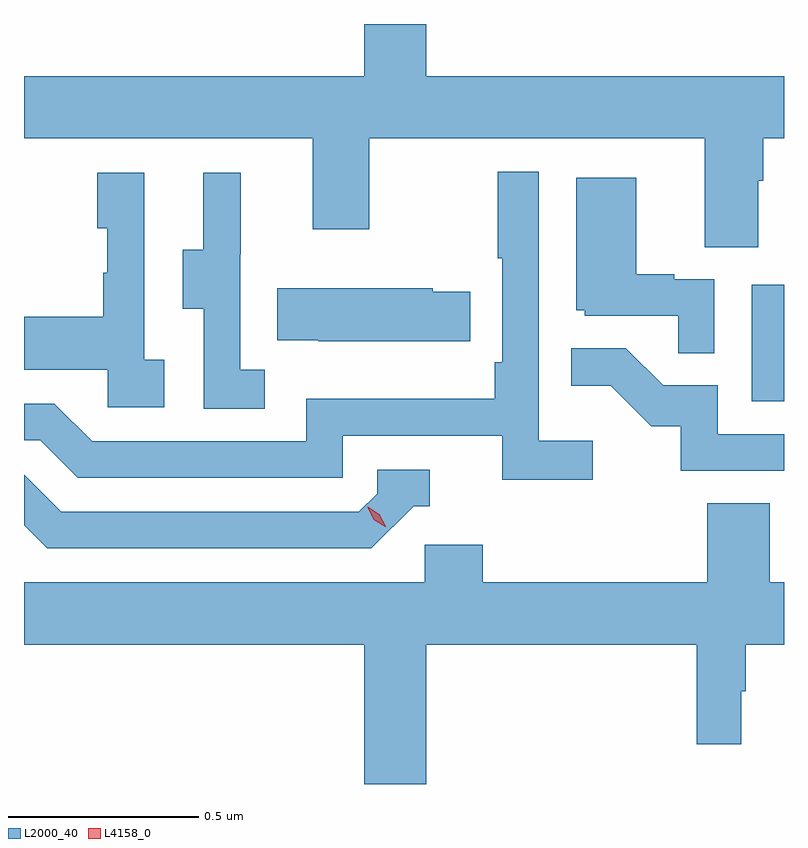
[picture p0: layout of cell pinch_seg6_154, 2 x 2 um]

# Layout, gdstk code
import gdstk
lib = gdstk.Library(unit=1e-6, precision=1e-09)
def R(c, l, rs):  # rectangles x0, y0, x1, y1
    for r in rs: c.add(gdstk.rectangle(r[:2], r[2:], *l))
def P(c, l, *ps):  # polygons
    for p in ps: c.add(gdstk.Polygon(p, *l))
L2000_40 = (2000, 40)
L4158_0 = (4158, 0)

pinch_seg6_154 = lib.new_cell('pinch_seg6_154')
R(pinch_seg6_154, L2000_40, [(969.224,917.34,969.309,917.647)])
P(pinch_seg6_154, L2000_40, [(969.241,917.92),(969.254,917.92),(969.254,918.032),(969.309,918.032),(969.309,918.196),(968.368,918.196),(968.368,918.333),(968.204,918.333),(968.204,918.196),(967.309,918.196),(967.309,918.032),(968.069,918.032),(968.069,917.793),(968.217,917.793),(968.217,918.032),(969.101,918.032),(969.101,917.746),(969.241,917.746)],
  [(968.806,917.236),(968.664,917.236),(968.664,917.944),(968.556,917.944),(968.556,917.716),(968.568,917.716),(968.568,917.443),(968.548,917.443),(968.548,917.347),(968.052,917.347),(968.052,917.235),(967.488,917.235),(967.389,917.334),(967.309,917.334),(967.309,917.238),(967.352,917.238),(967.451,917.139),(968.148,917.139),(968.148,917.25),(968.567,917.25),(968.567,917.134),(968.806,917.134)],
  [(967.678,917.45),(967.626,917.45),(967.626,917.941),(967.502,917.941),(967.502,917.796),(967.528,917.796),(967.528,917.678),(967.518,917.678),(967.518,917.563),(967.309,917.563),(967.309,917.423),(967.53,917.423),(967.53,917.325),(967.678,917.325)],
  [(967.942,917.423),(967.878,917.423),(967.878,917.727),(967.88,917.727),(967.88,917.941),(967.781,917.941),(967.781,917.739),(967.727,917.739),(967.727,917.584),(967.782,917.584),(967.782,917.32),(967.942,917.32)],
  [(969.126,917.661),(969.02,917.661),(969.02,917.674),(968.92,917.674),(968.92,917.929),(968.762,917.929),(968.762,917.58),(968.784,917.58),(968.784,917.565),(969.031,917.565),(969.031,917.467),(969.126,917.467)],
  [(968.483,917.628),(968.385,917.628),(968.385,917.638),(967.975,917.638),(967.975,917.501),(968.083,917.501),(968.083,917.498),(968.483,917.498)],
  [(969.309,917.253),(969.135,917.253),(969.135,917.382),(968.991,917.382),(968.893,917.48),(968.749,917.48),(968.749,917.381),(968.853,917.381),(968.96,917.274),(969.037,917.274),(969.037,917.157),(969.309,917.157)],
  [(968.334,917.064),(968.377,917.064),(968.377,917.16),(968.238,917.16),(968.238,917.097),(968.19,917.049),(967.407,917.049),(967.309,917.147),(967.309,917.014),(967.37,916.953),(968.223,916.953)],
  [(968.368,916.7),(969.079,916.7),(969.079,916.437),(969.196,916.437),(969.196,916.577),(969.208,916.577),(969.208,916.7),(969.309,916.7),(969.309,916.864),(969.272,916.864),(969.272,917.072),(969.107,917.072),(969.107,916.864),(968.516,916.864),(968.516,916.962),(968.364,916.962),(968.364,916.864),(967.309,916.864),(967.309,916.7),(968.204,916.7),(968.204,916.333),(968.368,916.333)])
P(pinch_seg6_154, L4158_0, [(968.26,917.01),(968.229,917.029),(968.213,917.061),(968.213,917.062),(968.213,917.062),(968.244,917.043),(968.261,917.011),(968.261,917.01)])

lib.write_gds('pinch_seg6_154.gds')
